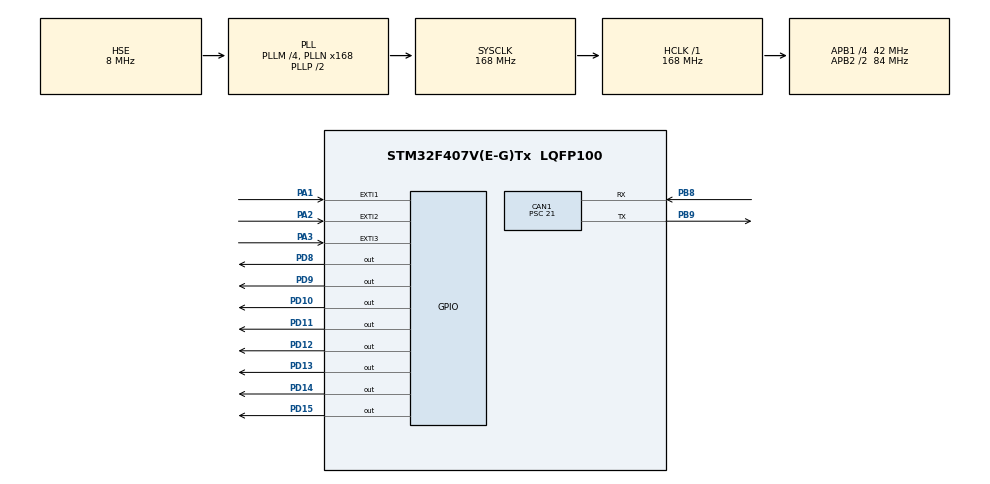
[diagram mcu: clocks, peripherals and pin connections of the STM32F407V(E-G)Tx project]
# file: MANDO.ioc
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CAN1.BS1=CAN_BS1_2TQ
CAN1.CalculateBaudRate=500000
CAN1.CalculateTimeBit=2000
CAN1.CalculateTimeQuantum=500.0
CAN1.NART=ENABLE
CAN1.Prescaler=21
Mcu.Family=STM32F4
Mcu.Name=STM32F407V(E-G)Tx
Mcu.Package=LQFP100
NVIC.CAN1_RX0_IRQn=true\:0\:0\:false\:false\:true\:true\:true\:true
NVIC.EXTI1_IRQn=true\:0\:0\:false\:false\:true\:true\:true\:true
NVIC.EXTI2_IRQn=true\:0\:0\:false\:false\:true\:true\:true\:true
NVIC.EXTI3_IRQn=true\:0\:0\:false\:false\:true\:true\:true\:true
NVIC.PriorityGroup=NVIC_PRIORITYGROUP_0
PA1.GPIO_PuPd=GPIO_PULLDOWN
PA1.Signal=GPXTI1
PA2.GPIO_PuPd=GPIO_PULLDOWN
PA2.Signal=GPXTI2
PA3.GPIO_PuPd=GPIO_PULLDOWN
PA3.Signal=GPXTI3
PB8.GPIO_PuPd=GPIO_PULLUP
PB8.Mode=CAN_Activate
PB8.Signal=CAN1_RX
PB9.Mode=CAN_Activate
PB9.Signal=CAN1_TX
PD10.Signal=GPIO_Output
PD11.Signal=GPIO_Output
PD12.Signal=GPIO_Output
PD13.Signal=GPIO_Output
PD14.Signal=GPIO_Output
PD15.Signal=GPIO_Output
PD8.Signal=GPIO_Output
PD9.Signal=GPIO_Output
PH0-OSC_IN.Mode=HSE-External-Oscillator
PH0-OSC_IN.Signal=RCC_OSC_IN
PH1-OSC_OUT.Mode=HSE-External-Oscillator
PH1-OSC_OUT.Signal=RCC_OSC_OUT
ProjectManager.HeapSize=0x200
ProjectManager.StackSize=0x400
ProjectManager.TargetToolchain=STM32CubeIDE
RCC.48MHZClocksFreq_Value=48000000
RCC.AHBFreq_Value=168000000
RCC.APB1CLKDivider=RCC_HCLK_DIV4
RCC.APB1Freq_Value=42000000
RCC.APB1TimFreq_Value=84000000
RCC.APB2CLKDivider=RCC_HCLK_DIV2
RCC.APB2Freq_Value=84000000
RCC.APB2TimFreq_Value=168000000
RCC.CortexFreq_Value=168000000
RCC.HCLKFreq_Value=168000000
RCC.HSE_VALUE=8000000
RCC.HSI_VALUE=16000000
RCC.LSE_VALUE=32768
RCC.PLLM=4
RCC.PLLN=168
RCC.PLLQ=7
RCC.PLLSourceVirtual=RCC_PLLSOURCE_HSE
RCC.SYSCLKFreq_VALUE=168000000
RCC.SYSCLKSource=RCC_SYSCLKSOURCE_PLLCLK
RCC.VCOOutputFreq_Value=336000000
board=STM32F407G-DISC1

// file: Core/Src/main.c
/* USER CODE BEGIN Header */
/**
  ******************************************************************************
  * @file           : main.c
  * @brief          : Main program body
  ******************************************************************************
  * @attention
  *
  * Copyright (c) 2024 STMicroelectronics.
  * All rights reserved.
  *
  * This software is licensed under terms that can be found in the LICENSE file
  * in the root directory of this software component.
  * If no LICENSE file comes with this software, it is provided AS-IS.
  *
  ******************************************************************************
  */
/* USER CODE END Header */
#include "main.h"

CAN_HandleTypeDef hcan1;

void SystemClock_Config(void);
static void MX_GPIO_Init(void);
static void MX_CAN1_Init(void);

/* USER CODE BEGIN 0 */
CAN_TxHeaderTypeDef TxHeader;
CAN_RxHeaderTypeDef RxHeader;

uint8_t TxData[8];
uint8_t RxData[8];

uint32_t TxMailbox;

uint8_t datacheck = 0;
uint8_t mapaACT = 1;

void SEND_MESSAGE(){ //Mandar una secuencia de datos u otra segun el mapa activo
    TxHeader.DLC = 1; //Data length (envio 2 bytes)
    TxHeader.IDE = CAN_ID_STD;
    TxHeader.RTR = CAN_RTR_DATA;
    TxHeader.StdId = 0x558; //ID (identificador del enviador)

    switch (mapaACT){
    case 1:
    	TxData[0] = 0x01;
    	break;
    case 2:
    	TxData[0] = 0x02;
    	break;
    case 3:
    	TxData[0] = 0x04;
    	break;
    case 4:
    	TxData[0] = 0x08;
    	break;
    case 5:
    	TxData[0] = 0x10;
    	break;
    }

	HAL_CAN_AddTxMessage(&hcan1, &TxHeader, TxData, &TxMailbox);
}//<-- falta traction y launch control

void HAL_GPIO_EXTI_Callback(uint16_t GPIO_Pin){ //Cambio de mapa activo segun el botón que se pulse
	if (GPIO_Pin == GPIO_PIN_1){ //Al pulsar el boton gris se sube de mapa
		if (mapaACT < 5){
			mapaACT++;
		} else {
			mapaACT = 1;
		}
	}

	if (GPIO_Pin == GPIO_PIN_2){ //Al pulsar el boton amarillo se baja de mapa
		if (mapaACT > 1 ){
			mapaACT--;
		} else {
			mapaACT = 5;
		}
	}
	SEND_MESSAGE();
} //<-- falta debouncer y traction y launch control

void RECEIVE_MESSAGE(){
	switch (RxData[0]){
	    case 0x81:
	    	HAL_GPIO_WritePin(GPIOD, GPIO_PIN_14, 1);
	    	HAL_GPIO_WritePin(GPIOD, GPIO_PIN_13, 0);
	    	HAL_GPIO_WritePin(GPIOD, GPIO_PIN_12, 0);
	    	HAL_GPIO_WritePin(GPIOD, GPIO_PIN_11, 0);
	    	HAL_GPIO_WritePin(GPIOD, GPIO_PIN_10, 0);
	    	break;
	    case 0x82:
	    	HAL_GPIO_WritePin(GPIOD, GPIO_PIN_13, 1);
	    	HAL_GPIO_WritePin(GPIOD, GPIO_PIN_14, 0);
	    	HAL_GPIO_WritePin(GPIOD, GPIO_PIN_12, 0);
	    	HAL_GPIO_WritePin(GPIOD, GPIO_PIN_11, 0);
	    	HAL_GPIO_WritePin(GPIOD, GPIO_PIN_10, 0);
	    	break;
	    case 0x84:
	    	HAL_GPIO_WritePin(GPIOD, GPIO_PIN_12, 1);
	    	HAL_GPIO_WritePin(GPIOD, GPIO_PIN_13, 0);
	    	HAL_GPIO_WritePin(GPIOD, GPIO_PIN_14, 0);
	    	HAL_GPIO_WritePin(GPIOD, GPIO_PIN_11, 0);
	    	HAL_GPIO_WritePin(GPIOD, GPIO_PIN_10, 0);
	    	break;
	    case 0x88:
	    	HAL_GPIO_WritePin(GPIOD, GPIO_PIN_11, 1);
	    	HAL_GPIO_WritePin(GPIOD, GPIO_PIN_13, 0);
	    	HAL_GPIO_WritePin(GPIOD, GPIO_PIN_12, 0);
	    	HAL_GPIO_WritePin(GPIOD, GPIO_PIN_14, 0);
	    	HAL_GPIO_WritePin(GPIOD, GPIO_PIN_10, 0);
	    	break;
	    case 0x90:
	    	HAL_GPIO_WritePin(GPIOD, GPIO_PIN_10, 1);
	    	HAL_GPIO_WritePin(GPIOD, GPIO_PIN_13, 0);
	    	HAL_GPIO_WritePin(GPIOD, GPIO_PIN_12, 0);
	    	HAL_GPIO_WritePin(GPIOD, GPIO_PIN_11, 0);
	    	HAL_GPIO_WritePin(GPIOD, GPIO_PIN_14, 0);
	    	break;
	}

	switch (RxData[1]){
	    case 0x80:
	    	HAL_GPIO_WritePin(GPIOD, GPIO_PIN_8, 0);
	    	HAL_GPIO_WritePin(GPIOD, GPIO_PIN_9, 0);
	    	break;
	    case 0x81:
	    	HAL_GPIO_WritePin(GPIOD, GPIO_PIN_9, 1);
	    	HAL_GPIO_WritePin(GPIOD, GPIO_PIN_8, 0);
	    	break;
	    case 0x82:
	    	HAL_GPIO_WritePin(GPIOD, GPIO_PIN_8, 1);
	    	HAL_GPIO_WritePin(GPIOD, GPIO_PIN_9, 0);
	    	break;
	    case 0x83:
	    	HAL_GPIO_WritePin(GPIOD, GPIO_PIN_8, 1);
	    	HAL_GPIO_WritePin(GPIOD, GPIO_PIN_9, 1);
	    	break;
	}

}

void HAL_CAN_RxFifo0MsgPendingCallback(CAN_HandleTypeDef *hcan){ //Para recibir mensajes del bus //<-- REVISAR hcan o hcan1
	HAL_CAN_GetRxMessage(hcan, CAN_RX_FIFO0, &RxHeader, RxData);
	if (RxHeader.DLC == 2){
		RECEIVE_MESSAGE();

	}
}

// Temporizador del heartbeat
/*void HAL_TIM_PeriodElapsedCallback(TIM_HandleTypeDef *htim){
	if(htim->Instance==TIM6){
		HAL_GPIO_TogglePin(GPIOD,GPIO_PIN_12); // Va ha hacer toggle cada segundo (porque: 1/(timer/(prescaler*period)) = 1/(84M/(42k*2k)) = 1s)
		TxHeader.DLC = 2; //Data length (envio 2 bytes)
		TxHeader.StdId = 0x558; //ID (identificador del enviador)
		TxData[0] = 200; //ms delay
		TxData[1] = 4; //loop rep

		HAL_CAN_AddTxMessage(&hcan1, &TxHeader, TxData, &TxMailbox); //Enviar el mensaje
	}
}
*/
/* USER CODE END 0 */

int main(void)
{

  /* MCU Configuration--------------------------------------------------------*/

  /* Reset of all peripherals, Initializes the Flash interface and the Systick. */
  HAL_Init();

  /* Configure the system clock */
  SystemClock_Config();

  /* Initialize all configured peripherals */
  MX_GPIO_Init();
  MX_CAN1_Init();
  /* USER CODE BEGIN 2 */
  	 HAL_CAN_Start(&hcan1);

     //Activar la notificacion
     HAL_CAN_ActivateNotification(&hcan1, CAN_IT_RX_FIFO0_MSG_PENDING);

     HAL_GPIO_WritePin(GPIOD, GPIO_PIN_14, 1);

//     HAL_TIM_Base_Start_IT(&htim6);
  /* USER CODE END 2 */

  /* Infinite loop */
  while (1)
  {

    /* USER CODE BEGIN 3 */

	  //Estas 4 lineas para comprobar que funciona el bus - mensajes continuos
//	  TxData[0] = 100; //ms delay
//	  TxData[1] = 8; //loop rep
//	  HAL_CAN_AddTxMessage(&hcan1, &TxHeader, TxData, &TxMailbox);
//	  HAL_Delay(1000);

  }
  /* USER CODE END 3 */
}

void SystemClock_Config(void)
{
  RCC_OscInitTypeDef RCC_OscInitStruct = {0};
  RCC_ClkInitTypeDef RCC_ClkInitStruct = {0};

  /** Configure the main internal regulator output voltage
  */
  __HAL_RCC_PWR_CLK_ENABLE();
  __HAL_PWR_VOLTAGESCALING_CONFIG(PWR_REGULATOR_VOLTAGE_SCALE1);

  /** Initializes the RCC Oscillators according to the specified parameters
  * in the RCC_OscInitTypeDef structure.
  */
  RCC_OscInitStruct.OscillatorType = RCC_OSCILLATORTYPE_HSE;
  RCC_OscInitStruct.HSEState = RCC_HSE_ON;
  RCC_OscInitStruct.PLL.PLLState = RCC_PLL_ON;
  RCC_OscInitStruct.PLL.PLLSource = RCC_PLLSOURCE_HSE;
  RCC_OscInitStruct.PLL.PLLM = 4;
  RCC_OscInitStruct.PLL.PLLN = 168;
  RCC_OscInitStruct.PLL.PLLP = RCC_PLLP_DIV2;
  RCC_OscInitStruct.PLL.PLLQ = 7;
  if (HAL_RCC_OscConfig(&RCC_OscInitStruct) != HAL_OK)
  {
    Error_Handler();
  }

  /** Initializes the CPU, AHB and APB buses clocks
  */
  RCC_ClkInitStruct.ClockType = RCC_CLOCKTYPE_HCLK|RCC_CLOCKTYPE_SYSCLK
                              |RCC_CLOCKTYPE_PCLK1|RCC_CLOCKTYPE_PCLK2;
  RCC_ClkInitStruct.SYSCLKSource = RCC_SYSCLKSOURCE_PLLCLK;
  RCC_ClkInitStruct.AHBCLKDivider = RCC_SYSCLK_DIV1;
  RCC_ClkInitStruct.APB1CLKDivider = RCC_HCLK_DIV4;
  RCC_ClkInitStruct.APB2CLKDivider = RCC_HCLK_DIV2;

  if (HAL_RCC_ClockConfig(&RCC_ClkInitStruct, FLASH_LATENCY_5) != HAL_OK)
  {
    Error_Handler();
  }
}

static void MX_CAN1_Init(void)
{

  hcan1.Instance = CAN1;
  hcan1.Init.Prescaler = 21;
  hcan1.Init.Mode = CAN_MODE_NORMAL;
  hcan1.Init.SyncJumpWidth = CAN_SJW_1TQ;
  hcan1.Init.TimeSeg1 = CAN_BS1_2TQ;
  hcan1.Init.TimeSeg2 = CAN_BS2_1TQ;
  hcan1.Init.TimeTriggeredMode = DISABLE;
  hcan1.Init.AutoBusOff = DISABLE;
  hcan1.Init.AutoWakeUp = DISABLE;
  hcan1.Init.AutoRetransmission = ENABLE;
  hcan1.Init.ReceiveFifoLocked = DISABLE;
  hcan1.Init.TransmitFifoPriority = DISABLE;
  if (HAL_CAN_Init(&hcan1) != HAL_OK)
  {
    Error_Handler();
  }
  /* USER CODE BEGIN CAN1_Init 2 */
  CAN_FilterTypeDef canfilterconfig;

        canfilterconfig.FilterActivation = CAN_FILTER_ENABLE;
        canfilterconfig.FilterBank = 18; //which filter bank to use from the assigned ones
        canfilterconfig.FilterFIFOAssignment = CAN_RX_FIFO0;
        canfilterconfig.FilterIdHigh = 0x103<<5;
        canfilterconfig.FilterIdLow = 0x0000;
        canfilterconfig.FilterMaskIdHigh = 0x103<<5; //Escribo en la posicion 5
        canfilterconfig.FilterMaskIdLow = 0x0000;
        canfilterconfig.FilterMode = CAN_FILTERMODE_IDMASK;
        canfilterconfig.FilterScale = CAN_FILTERSCALE_32BIT;
        canfilterconfig.SlaveStartFilterBank = 20; //how many filters to assign to the CAN1 (master can)

        HAL_CAN_ConfigFilter(&hcan1, &canfilterconfig);

  /* USER CODE END CAN1_Init 2 */

}

static void MX_GPIO_Init(void)
{
  GPIO_InitTypeDef GPIO_InitStruct = {0};

  /* GPIO Ports Clock Enable */
  __HAL_RCC_GPIOH_CLK_ENABLE();
  __HAL_RCC_GPIOA_CLK_ENABLE();
  __HAL_RCC_GPIOD_CLK_ENABLE();
  __HAL_RCC_GPIOB_CLK_ENABLE();

  /*Configure GPIO pin Output Level */
  HAL_GPIO_WritePin(GPIOD, GPIO_PIN_8|GPIO_PIN_9|GPIO_PIN_10|GPIO_PIN_11
                          |GPIO_PIN_12|GPIO_PIN_13|GPIO_PIN_14|GPIO_PIN_15, GPIO_PIN_RESET);

  /*Configure GPIO pins : PA1 PA2 PA3 */
  GPIO_InitStruct.Pin = GPIO_PIN_1|GPIO_PIN_2|GPIO_PIN_3;
  GPIO_InitStruct.Mode = GPIO_MODE_IT_RISING;
  GPIO_InitStruct.Pull = GPIO_PULLDOWN;
  HAL_GPIO_Init(GPIOA, &GPIO_InitStruct);

  /*Configure GPIO pins : PD8 PD9 PD10 PD11
                           PD12 PD13 PD14 PD15 */
  GPIO_InitStruct.Pin = GPIO_PIN_8|GPIO_PIN_9|GPIO_PIN_10|GPIO_PIN_11
                          |GPIO_PIN_12|GPIO_PIN_13|GPIO_PIN_14|GPIO_PIN_15;
  GPIO_InitStruct.Mode = GPIO_MODE_OUTPUT_PP;
  GPIO_InitStruct.Pull = GPIO_NOPULL;
  GPIO_InitStruct.Speed = GPIO_SPEED_FREQ_LOW;
  HAL_GPIO_Init(GPIOD, &GPIO_InitStruct);

  /* EXTI interrupt init*/
  HAL_NVIC_SetPriority(EXTI1_IRQn, 0, 0);
  HAL_NVIC_EnableIRQ(EXTI1_IRQn);

  HAL_NVIC_SetPriority(EXTI2_IRQn, 0, 0);
  HAL_NVIC_EnableIRQ(EXTI2_IRQn);

  HAL_NVIC_SetPriority(EXTI3_IRQn, 0, 0);
  HAL_NVIC_EnableIRQ(EXTI3_IRQn);

}

void Error_Handler(void)
{
  __disable_irq();
  while (1)
  {
  }
}
